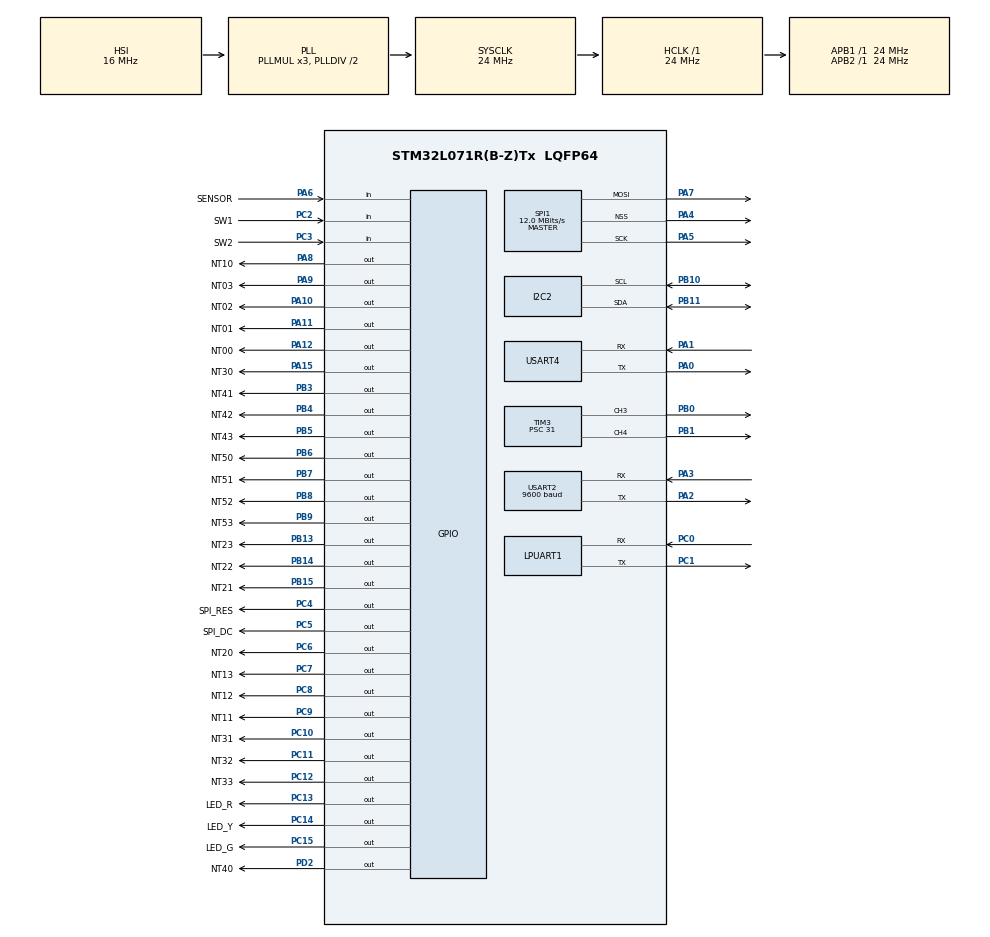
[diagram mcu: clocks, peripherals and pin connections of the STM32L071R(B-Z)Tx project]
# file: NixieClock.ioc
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Mcu.Family=STM32L0
PA11.GPIO_Speed=GPIO_SPEED_FREQ_HIGH
VP_SYS_VS_tim6.Mode=TIM6
SPI1.VirtualType=VM_MASTER
PB10.Mode=I2C
PA10.GPIO_PuPd=GPIO_NOPULL
PC10.Signal=GPIO_Output
PC12.Signal=GPIO_Output
PB14.GPIO_Label=NT22
I2C2.Timing=0x00506682
PC6.GPIO_Label=NT20
PA6.GPIO_Label=SENSOR
PB6.GPIO_Label=NT50
PA11.GPIO_PuPd=GPIO_NOPULL
PC13.GPIO_Label=LED_R
PB13.GPIO_Label=NT23
PB11.Signal=I2C2_SDA
PB13.Signal=GPIO_Output
PB15.Signal=GPIO_Output
PC15-OSC32_OUT.GPIO_Label=LED_G
TIM3.Channel-PWM\ Generation4\ CH4=TIM_CHANNEL_4
RCC.SYSCLKSource=RCC_SYSCLKSOURCE_PLLCLK
ProjectManager.StackSize=0x400
PA12.GPIO_ModeDefaultOutputPP=GPIO_MODE_OUTPUT_PP
PA15.GPIO_Label=NT30
PA12.Signal=GPIO_Output
PA4.Mode=NSS_Signal_Hard_Output
SPI1.Direction=SPI_DIRECTION_2LINES
RCC.HCLKFreq_Value=24000000
RCC.APB2TimFreq_Value=24000000
TIM3.Period=2999
PB6.Signal=GPIO_Output
PC7.Signal=GPIO_Output
SPI1.CalculateBaudRate=12.0 MBits/s
PC3.Signal=GPIO_Input
RCC.AHBFreq_Value=24000000
TIM3.Pulse-PWM\ Generation3\ CH3=499
RCC.HSE_VALUE=8000000
USART2.VirtualMode-Asynchronous=VM_ASYNC
PA11.GPIO_ModeDefaultOutputPP=GPIO_MODE_OUTPUT_PP
PC4.GPIO_Label=SPI_RES
PA14.Mode=Serial_Wire
TIM3.Prescaler=31
PC11.GPIO_Label=NT32
PA10.GPIO_Label=NT02
PA0.Mode=Asynchronous
PB7.Signal=GPIO_Output
PA8.Signal=GPIO_Output
SPI1.VirtualNSS=VM_NSSHARD
VP_FREERTOS_VS_CMSIS_V1.Mode=CMSIS_V1
PA0.Signal=USART4_TX
NVIC.USART4_5_IRQn=true\:0\:0\:false\:false\:true\:false\:true\:true
PB7.GPIO_Label=NT51
Mcu.Package=LQFP64
PB9.Signal=GPIO_Output
PB1.Signal=S_TIM3_CH4
PA6.Signal=GPIO_Input
NVIC.TimeBase=TIM6_IRQn
NVIC.TimeBaseIP=TIM6
PA10.Signal=GPIO_Output
PA15.Signal=GPIO_Output
PA10.GPIO_Speed=GPIO_SPEED_FREQ_HIGH
PB5.GPIO_Label=NT43
RCC.APB1TimFreq_Value=24000000
PC14-OSC32_IN.GPIO_Label=LED_Y
PC5.Signal=GPIO_Output
PA12.GPIO_PuPd=GPIO_NOPULL
PC2.GPIO_Label=SW1
PA12.GPIO_Speed=GPIO_SPEED_FREQ_HIGH
PB4.Signal=GPIO_Output
PA3.Signal=USART2_RX
PA5.Mode=TX_Only_Simplex_Unidirect_Master
PB3.GPIO_Label=NT41
RCC.MSI_VALUE=2097000
FREERTOS.Tasks01=blink,-2,128,Blink,Default,NULL,Static,blinkBuffer,blinkControlBlock;ds3231,2,128,ds3231Timer,Default,NULL,Static,ds3231Buffer,ds3231ControlBlock;NixieController,3,128,nixieControl,Default,NULL,Static,NixieControllerBuffer,NixieControllerControlBlock;music,-3,128,mucisControl,Default,NULL,Static,musicBuffer,musicControlBlock;OLEDController,-1,128,oledController,Default,NULL,Static,OLEDControllerBuffer,OLEDControllerControlBlock;bluetooth,2,256,btController,Default,NULL,Static,bluetoothBuffer,bluetoothControlBlock;Count,-3,128,counter,Default,NULL,Static,CountBuffer,CountControlBlock
PA7.Mode=TX_Only_Simplex_Unidirect_Master
PB9.GPIO_Label=NT53
PC10.GPIO_Label=NT31
TIM3.OCFastMode_PWM-PWM\ Generation3\ CH3=TIM_OCFAST_ENABLE
PC9.GPIO_Label=NT11
TIM3.AutoReloadPreload=TIM_AUTORELOAD_PRELOAD_ENABLE
PC11.Signal=GPIO_Output
PA9.GPIO_Label=NT03
PC13.Signal=GPIO_Output
PC8.Signal=GPIO_Output
PC2.Signal=GPIO_Input
PC4.Signal=GPIO_Output
PC6.Signal=GPIO_Output
PA11.GPIO_Label=NT01
PC0.Signal=LPUART1_RX
PC14-OSC32_IN.Signal=GPIO_Output
SH.S_TIM3_CH3.0=TIM3_CH3,PWM Generation3 CH3
PA9.GPIO_PuPd=GPIO_NOPULL
NVIC.USART2_IRQn=true\:0\:0\:false\:false\:true\:false\:true\:true
USART2.BaudRate=9600
PA12.GPIO_Label=NT00
PC0.Mode=Asynchronous
NVIC.TIM6_IRQn=true\:0\:0\:false\:false\:true\:false\:false\:true
PC8.GPIO_Label=NT12
PA3.Mode=Asynchronous
PA13.Signal=SYS_SWDIO
TIM3.Channel-PWM\ Generation3\ CH3=TIM_CHANNEL_3
RCC.HSI16_VALUE=16000000
PB8.GPIO_Label=NT52
PA8.GPIO_Label=NT10
PB11.Mode=I2C
ProjectManager.TargetToolchain=Makefile
PA10.GPIO_ModeDefaultOutputPP=GPIO_MODE_OUTPUT_PP
PA9.Signal=GPIO_Output
RCC.LSE_VALUE=32768
PC15-OSC32_OUT.Signal=GPIO_Output
PA1.Signal=USART4_RX
PB10.Signal=I2C2_SCL
PB14.Signal=GPIO_Output
PA5.Signal=SPI1_SCK
USART4.VirtualMode-Asynchronous=VM_ASYNC
board=custom
RCC.VCOOutputFreq_Value=48000000
RCC.APB2Freq_Value=24000000
PA1.Mode=Asynchronous
PB4.GPIO_Label=NT42
PB15.GPIO_Label=NT21
SPI1.Mode=SPI_MODE_MASTER
PA13.Mode=Serial_Wire
Mcu.Name=STM32L071R(B-Z)Tx
PA2.Signal=USART2_TX
PC7.GPIO_Label=NT13
PA9.GPIO_ModeDefaultOutputPP=GPIO_MODE_OUTPUT_PP
PB3.Signal=GPIO_Output
PA4.Signal=SPI1_NSS
RCC.SYSCLKFreq_VALUE=24000000
PB5.Signal=GPIO_Output
PC5.GPIO_Label=SPI_DC
PC12.GPIO_Label=NT33
PA11.Signal=GPIO_Output
PA14.Signal=SYS_SWCLK
ProjectManager.HeapSize=0x200
RCC.HSI_VALUE=16000000
PA2.Mode=Asynchronous
PA9.GPIO_Speed=GPIO_SPEED_FREQ_HIGH
PB8.Signal=GPIO_Output
PC3.GPIO_Label=SW2
PC9.Signal=GPIO_Output
PD2.Signal=GPIO_Output
RCC.APB1Freq_Value=24000000
PB0.Signal=S_TIM3_CH3
PC1.Signal=LPUART1_TX
PD2.GPIO_Label=NT40
PC1.Mode=Asynchronous
SH.S_TIM3_CH4.0=TIM3_CH4,PWM Generation4 CH4
PA7.Signal=SPI1_MOSI

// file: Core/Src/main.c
/* USER CODE BEGIN Header */
/**
  ******************************************************************************
  * @file           : main.c
  * @brief          : Main program body
  ******************************************************************************
  * @attention
  *
  * <h2><center>&copy; Copyright (c) 2021 STMicroelectronics.
  * All rights reserved.</center></h2>
  *
  * This software component is licensed by ST under Ultimate Liberty license
  * SLA0044, the "License"; You may not use this file except in compliance with
  * the License. You may obtain a copy of the License at:
  *                             www.st.com/SLA0044
  *
  ******************************************************************************
  */
/* USER CODE END Header */
#include "main.h"
#include "cmsis_os.h"
#include "i2c.h"
#include "usart.h"
#include "spi.h"
#include "tim.h"
#include "gpio.h"

void SystemClock_Config(void);
void MX_FREERTOS_Init(void);

int main(void)
{

  /* MCU Configuration--------------------------------------------------------*/

  /* Reset of all peripherals, Initializes the Flash interface and the Systick. */
  HAL_Init();

  /* Configure the system clock */
  SystemClock_Config();

  /* Initialize all configured peripherals */
  MX_GPIO_Init();
  MX_I2C2_Init();
  MX_SPI1_Init();
  MX_USART2_UART_Init();
  MX_USART4_UART_Init();
  MX_LPUART1_UART_Init();
  MX_TIM3_Init();

  /* Call init function for freertos objects (in freertos.c) */
  MX_FREERTOS_Init();
  /* Start scheduler */
  osKernelStart();

  /* We should never get here as control is now taken by the scheduler */
  /* Infinite loop */
  while (1)
  {

  }
}

void SystemClock_Config(void)
{
  RCC_OscInitTypeDef RCC_OscInitStruct = {0};
  RCC_ClkInitTypeDef RCC_ClkInitStruct = {0};
  RCC_PeriphCLKInitTypeDef PeriphClkInit = {0};

  /** Configure the main internal regulator output voltage
  */
  __HAL_PWR_VOLTAGESCALING_CONFIG(PWR_REGULATOR_VOLTAGE_SCALE1);
  /** Initializes the RCC Oscillators according to the specified parameters
  * in the RCC_OscInitTypeDef structure.
  */
  RCC_OscInitStruct.OscillatorType = RCC_OSCILLATORTYPE_HSI;
  RCC_OscInitStruct.HSIState = RCC_HSI_ON;
  RCC_OscInitStruct.HSICalibrationValue = RCC_HSICALIBRATION_DEFAULT;
  RCC_OscInitStruct.PLL.PLLState = RCC_PLL_ON;
  RCC_OscInitStruct.PLL.PLLSource = RCC_PLLSOURCE_HSI;
  RCC_OscInitStruct.PLL.PLLMUL = RCC_PLLMUL_3;
  RCC_OscInitStruct.PLL.PLLDIV = RCC_PLLDIV_2;
  if (HAL_RCC_OscConfig(&RCC_OscInitStruct) != HAL_OK)
  {
    Error_Handler();
  }
  /** Initializes the CPU, AHB and APB buses clocks
  */
  RCC_ClkInitStruct.ClockType = RCC_CLOCKTYPE_HCLK|RCC_CLOCKTYPE_SYSCLK
                              |RCC_CLOCKTYPE_PCLK1|RCC_CLOCKTYPE_PCLK2;
  RCC_ClkInitStruct.SYSCLKSource = RCC_SYSCLKSOURCE_PLLCLK;
  RCC_ClkInitStruct.AHBCLKDivider = RCC_SYSCLK_DIV1;
  RCC_ClkInitStruct.APB1CLKDivider = RCC_HCLK_DIV1;
  RCC_ClkInitStruct.APB2CLKDivider = RCC_HCLK_DIV1;

  if (HAL_RCC_ClockConfig(&RCC_ClkInitStruct, FLASH_LATENCY_1) != HAL_OK)
  {
    Error_Handler();
  }
  PeriphClkInit.PeriphClockSelection = RCC_PERIPHCLK_USART2|RCC_PERIPHCLK_LPUART1;
  PeriphClkInit.Usart2ClockSelection = RCC_USART2CLKSOURCE_PCLK1;
  PeriphClkInit.Lpuart1ClockSelection = RCC_LPUART1CLKSOURCE_PCLK1;
  if (HAL_RCCEx_PeriphCLKConfig(&PeriphClkInit) != HAL_OK)
  {
    Error_Handler();
  }
}

void HAL_TIM_PeriodElapsedCallback(TIM_HandleTypeDef *htim)
{
  if (htim->Instance == TIM6) {
    HAL_IncTick();
  }
}

void Error_Handler(void)
{
}

/************************ (C) COPYRIGHT STMicroelectronics *****END OF FILE****/

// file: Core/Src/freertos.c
/* USER CODE BEGIN Header */
/**
  ******************************************************************************
  * File Name          : freertos.c
  * Description        : Code for freertos applications
  ******************************************************************************
  * @attention
  *
  * <h2><center>&copy; Copyright (c) 2021 STMicroelectronics.
  * All rights reserved.</center></h2>
  *
  * This software component is licensed by ST under Ultimate Liberty license
  * SLA0044, the "License"; You may not use this file except in compliance with
  * the License. You may obtain a copy of the License at:
  *                             www.st.com/SLA0044
  *
  ******************************************************************************
  */
/* USER CODE END Header */

#include "FreeRTOS.h"
#include "task.h"
#include "main.h"
#include "cmsis_os.h"

/* USER CODE BEGIN Includes */
#include "usart.h"
#include "tim.h"

#include "NixieTube.h"
#include "DS3231.h"
#include "Buzzer.h"
#include "OLED.h"
#include "Controller.h"
#include "IFSensor.h"

#include "stdio.h"
/* USER CODE END Includes */

osThreadId blinkHandle;
uint32_t blinkBuffer[ 128 ];
osStaticThreadDef_t blinkControlBlock;
osThreadId ds3231Handle;
uint32_t ds3231Buffer[ 128 ];
osStaticThreadDef_t ds3231ControlBlock;
osThreadId NixieControllerHandle;
uint32_t NixieControllerBuffer[ 128 ];
osStaticThreadDef_t NixieControllerControlBlock;
osThreadId musicHandle;
uint32_t musicBuffer[ 128 ];
osStaticThreadDef_t musicControlBlock;
osThreadId OLEDControllerHandle;
uint32_t OLEDControllerBuffer[ 128 ];
osStaticThreadDef_t OLEDControllerControlBlock;
osThreadId bluetoothHandle;
uint32_t bluetoothBuffer[ 256 ];
osStaticThreadDef_t bluetoothControlBlock;
osThreadId CountHandle;
uint32_t CountBuffer[ 128 ];
osStaticThreadDef_t CountControlBlock;

void Blink(void const * argument);
void ds3231Timer(void const * argument);
void nixieControl(void const * argument);
void mucisControl(void const * argument);
void oledController(void const * argument);
void btController(void const * argument);
void counter(void const * argument);

void MX_FREERTOS_Init(void); /* (MISRA C 2004 rule 8.1) */

/* GetIdleTaskMemory prototype (linked to static allocation support) */
void vApplicationGetIdleTaskMemory( StaticTask_t **ppxIdleTaskTCBBuffer, StackType_t **ppxIdleTaskStackBuffer, uint32_t *pulIdleTaskStackSize );

/* USER CODE BEGIN GET_IDLE_TASK_MEMORY */
static StaticTask_t xIdleTaskTCBBuffer;
static StackType_t xIdleStack[configMINIMAL_STACK_SIZE];

void vApplicationGetIdleTaskMemory(StaticTask_t **ppxIdleTaskTCBBuffer, StackType_t **ppxIdleTaskStackBuffer,
                                   uint32_t *pulIdleTaskStackSize) {
    *ppxIdleTaskTCBBuffer = &xIdleTaskTCBBuffer;
    *ppxIdleTaskStackBuffer = &xIdleStack[0];
    *pulIdleTaskStackSize = configMINIMAL_STACK_SIZE;
    /* place for user code */
}
/* USER CODE END GET_IDLE_TASK_MEMORY */

void MX_FREERTOS_Init(void) {

  /* Create the thread(s) */
  /* definition and creation of blink */
  osThreadStaticDef(blink, Blink, osPriorityLow, 0, 128, blinkBuffer, &blinkControlBlock);
  blinkHandle = osThreadCreate(osThread(blink), NULL);

  /* definition and creation of ds3231 */
  osThreadStaticDef(ds3231, ds3231Timer, osPriorityHigh, 0, 128, ds3231Buffer, &ds3231ControlBlock);
  ds3231Handle = osThreadCreate(osThread(ds3231), NULL);

  /* definition and creation of NixieController */
  osThreadStaticDef(NixieController, nixieControl, osPriorityRealtime, 0, 128, NixieControllerBuffer, &NixieControllerControlBlock);
  NixieControllerHandle = osThreadCreate(osThread(NixieController), NULL);

  /* definition and creation of music */
  osThreadStaticDef(music, mucisControl, osPriorityIdle, 0, 128, musicBuffer, &musicControlBlock);
  musicHandle = osThreadCreate(osThread(music), NULL);

  /* definition and creation of OLEDController */
  osThreadStaticDef(OLEDController, oledController, osPriorityBelowNormal, 0, 128, OLEDControllerBuffer, &OLEDControllerControlBlock);
  OLEDControllerHandle = osThreadCreate(osThread(OLEDController), NULL);

  /* definition and creation of bluetooth */
  osThreadStaticDef(bluetooth, btController, osPriorityHigh, 0, 256, bluetoothBuffer, &bluetoothControlBlock);
  bluetoothHandle = osThreadCreate(osThread(bluetooth), NULL);

  /* definition and creation of Count */
  osThreadStaticDef(Count, counter, osPriorityIdle, 0, 128, CountBuffer, &CountControlBlock);
  CountHandle = osThreadCreate(osThread(Count), NULL);

}

void Blink(void const * argument)
{
  /* USER CODE BEGIN Blink */
    // HAL_GPIO_TogglePin(GPIOB, GPIO_PIN_0);

    /* Infinite loop */
    for (;;) {
        // HAL_GPIO_TogglePin(GPIOB, GPIO_PIN_0);
//        HAL_GPIO_TogglePin(GPIOD, GPIO_PIN_2);
        osDelay(300);
    }
  /* USER CODE END Blink */
}

void ds3231Timer(void const * argument)
{
  /* USER CODE BEGIN ds3231Timer */
//    static volatile Calendar cal = {23, 15, 0, 21, 11, 29, 1};
//    setDatetime(&cal);

    /* Infinite loop */
    for (;;) {
        getDatetime(&calendar);
        osDelay(300);
    }
  /* USER CODE END ds3231Timer */
}

void nixieControl(void const * argument)
{
  /* USER CODE BEGIN nixieControl */
    static volatile NixieTube tube[6];
    for (int i = 0; i < 6; i++)
        setGPIO(&(tube[i]), nixiePorts[i], nixiePins[i]);
    static volatile int sensorCount = 0;
    int maxLeave = 60;

    /* Infinite loop */
    for (;;) {
        if (status.lightOn && getSensorState() == 0 && sensorCount < maxLeave * 10 + 100) sensorCount++;
        else sensorCount = 0;

        if (status.lightOn && (status.autoOff == 0 || sensorCount < maxLeave * 10)) {
            if (status.displayState == 0) {
                setNumber(&(tube[0]), calendar.sec % 10);
                setNumber(&(tube[1]), calendar.sec / 10);
                setNumber(&(tube[2]), calendar.min % 10);
                setNumber(&(tube[3]), calendar.min / 10);
                setNumber(&(tube[4]), calendar.hour % 10);
                setNumber(&(tube[5]), calendar.hour / 10);
            } else {
                setNumber(&(tube[0]), countDown.sec % 10);
                setNumber(&(tube[1]), countDown.sec / 10);
                setNumber(&(tube[2]), countDown.min % 10);
                setNumber(&(tube[3]), countDown.min / 10);
                setNumber(&(tube[4]), countDown.hour % 10);
                setNumber(&(tube[5]), countDown.hour / 10);
            }
        }
        else
            for (int i = 0; i < 6; i++) setNumber(&(tube[i]), NIXIE_NULL);
        osDelay(100);
    }
  /* USER CODE END nixieControl */
}

void mucisControl(void const * argument)
{
  /* USER CODE BEGIN mucisControl */
    static volatile MusicPlayer player;
    setPWMOutput(&player, &htim3, TIM_CHANNEL_4);
    setMusicSheet(&player, 100, 30);
    int startCount = 0;

    /* Infinite loop */
    for (;;) {
        if ((alarm.min == calendar.min && alarm.hour == calendar.hour && status.displayState == 0) ||
            (status.displayState == 4))
            startCount = 180 * 100;

        while (startCount > 0) {
            startCount--;
            playMusic(&player);
            if (HAL_GPIO_ReadPin(SW1_GPIO_Port, SW1_Pin) == GPIO_PIN_RESET) {
                startCount = 0;
                stopMusic(&player);
                if (status.displayState == 0)
                    while (alarm.min == calendar.min) osDelay(1000);
                else
                    status.displayState = 1;
            }
            osDelay(10);
        }

        stopMusic(&player);

        osDelay(1000);
    }
  /* USER CODE END mucisControl */
}

void oledController(void const * argument)
{
  /* USER CODE BEGIN oledController */
    OLED_Init();
    osDelay(500);
    OLED_On();
    osDelay(500);
    OLED_Show_String(20, 10, "Nixie Clock", BIG);
    osDelay(5000);
    /* Infinite loop */
    for (;;) {
        char date[21];
        if (status.displayState == 0)
            calToString(&calendar, date);
        else
            calToString(&countDown, date);
        char alarmShow[21];
        sprintf(alarmShow, "Alarm: %s, at %2d:%2d", alarm.hour == 0 && alarm.min == 0 ? "OFF" : " ON", alarm.hour,
                alarm.min);
        OLED_Show_String(31, 0, "Nixie Clock", SMALL);
        OLED_Show_String(15, 1, date, SMALL);
//        OLED_Show_String(5, 2, "BT  : NOT Connected", SMALL);
        OLED_Show_String(5, 2, alarmShow, SMALL);
        OLED_Show_String(5, 3, "WiFi: NOT Connected", SMALL);
        OLED_Show_String(5, 4, status.displayState == 0 ? "Mode: Clock" : "Mode: Counter", SMALL);
        OLED_Show_String(5, 4, status.displayState == 0 ? "Mode: Clock" : "Mode: Counter", SMALL);
        OLED_Show_String(100, 4, getSensorState() == 0 ? "N" : "Y", SMALL);
        OLED_Show_String(5, 5, "Last Instruction: ", SMALL);
        OLED_Show_String(20, 6, msg, SMALL);
        OLED_Show_String(56, 7, "Group 22 :)", SMALL);
        osDelay(200);
    }
  /* USER CODE END oledController */
}

void btController(void const * argument)
{
  /* USER CODE BEGIN btController */
    HAL_UART_Receive_IT(&huart2, buffer, 1);
    /* Infinite loop */
    for (;;) {
        processMsg();
        osDelay(100);
    }
  /* USER CODE END btController */
}

void counter(void const * argument)
{
  /* USER CODE BEGIN counter */
    /* Infinite loop */
    for (;;) {
        if (status.displayState == 2) {
            if (countDown.sec == 0 && countDown.min == 0 && countDown.hour == 0) {
                status.displayState = 4;
            } else if (countDown.sec == 0 && countDown.min == 0) {
                countDown.hour -= 1;
                countDown.min = 59;
                countDown.sec = 59;
            } else if (countDown.sec == 0) {
                countDown.min -= 1;
                countDown.sec = 59;
            } else {
                countDown.sec -= 1;
            }
        }
        osDelay(1000);
    }
  /* USER CODE END counter */
}

/************************ (C) COPYRIGHT STMicroelectronics *****END OF FILE****/
